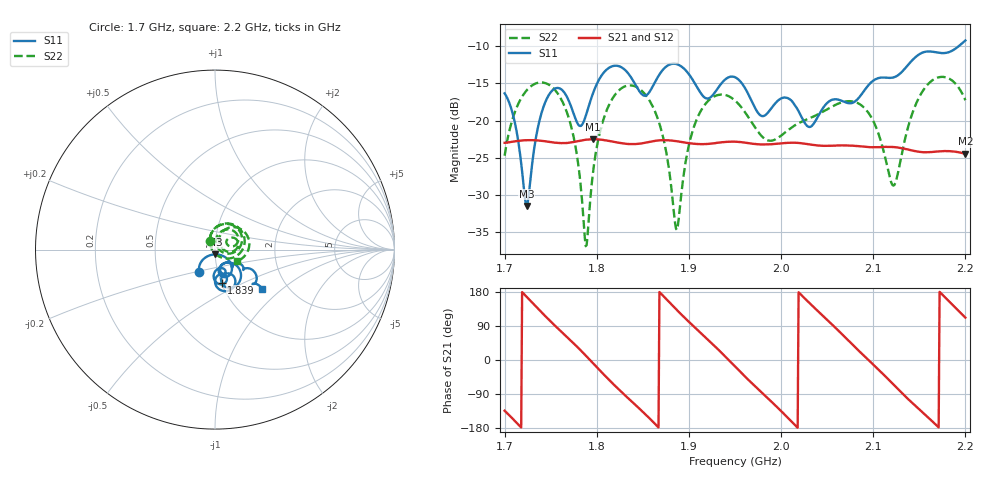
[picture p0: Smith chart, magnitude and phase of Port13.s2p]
# Hz S RI R 50
! CMT, CMT808U, 21440046, 21.4.3/4
! Date: 12/13/2025 10:54:57 PM
! Data: Format (Calibration Info)
! Freq	S11:Re/Im(F2)	S41:Re/Im(F2)	S14:Re/Im(F2)	S44:Re/Im(F2)
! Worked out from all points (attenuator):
!   501 points, 1.7 GHz to 2.2 GHz, reference 50 ohm
!   highest |S21| = -22.51 dB at 1.796 GHz (marker M1); lowest = -24.5 dB at 2.2 GHz (marker M2)
!   lowest |S11| = -31.5 dB at 1.724 GHz (marker M3), VSWR 1.05, Z = 50 - j2.67 ohm
!   |S11| at or under -10 dB: start of sweep to 2.193 GHz
!   |S22| runs from -36.9 to -14.1 dB; largest |S21 - S12| = 0.00038
!   S11 on the Smith chart (normalised r, x): 1.7 GHz: 0.82, -0.21; 1.839 GHz: 1.00, -0.38; 2.2 GHz: 1.49, -0.75
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1.7e9  -0.0866 -0.1251  -0.049 -0.0512  -0.0487 -0.0511  -0.0293 0.0501
1.712e9  -0.0698 -0.0586  -0.0695 -0.0211  -0.0694 -0.0213  -0.00233 0.1177
1.724e9  0.0012 -0.0266  -0.0718 0.0171  -0.0716 0.0169  0.0646 0.146
1.736e9  0.071 -0.0536  -0.0529 0.051  -0.0529 0.0507  0.1325 0.1203
1.749e9  0.0928 -0.1201  -0.0173 0.0697  -0.0174 0.0695  0.1653 0.0491
1.771e9  0.0224 -0.1276  0.0425 0.0569  0.0424 0.0568  0.0841 -0.0488
1.784e9  0.0562 -0.0749  0.0682 0.0275  0.0681 0.0276  0.00721 -0.0283
1.789e9  0.0854 -0.0725  0.0734 0.012  0.0732 0.0122  -0.0136 -0.00515
1.796e9  0.1226 -0.0913  0.074 -0.0112  0.0738 -0.011  -0.0286 0.035
1.813e9  0.136 -0.1796  0.0454 -0.0572  0.0453 -0.0569  0.00971 0.1255
1.839e9  0.0366 -0.1834  -0.026 -0.0643  -0.0258 -0.0643  0.1395 0.0996
1.867e9  0.112 -0.1648  -0.0734 -0.00249  -0.0733 -0.00268  0.0977 -0.0188
1.887e9  0.0583 -0.2317  -0.0483 0.0542  -0.0484 0.0539  0.0147 0.0111
1.91e9  0.00268 -0.1628  0.0147 0.0679  0.0145 0.0678  0.0349 0.1011
1.95e9  0.0285 -0.1932  0.069 -0.0212  0.0689 -0.0209  0.1284 0.0458
1.986e9  0.0442 -0.1046  -0.0142 -0.0678  -0.0139 -0.0676  0.0672 0.0295
2.034e9  0.0573 -0.0731  -0.0547 0.0416  -0.0547 0.0414  0.0839 0.064
2.087e9  0.1282 -0.0758  0.0637 0.0208  0.0636 0.021  0.1259 0.0139
2.117e9  0.1576 -0.112  0.0406 -0.0527  0.0407 -0.0526  0.0437 0.003
2.124e9  0.1658 -0.1059  0.023 -0.0621  0.0232 -0.0619  0.028 0.0258
2.161e9  0.2222 -0.1878  -0.0556 -0.026  -0.0554 -0.0262  0.1345 0.1187
2.2e9  0.2639 -0.2221  -0.0222 0.0555  -0.0223 0.0554  0.1207 -0.0645
